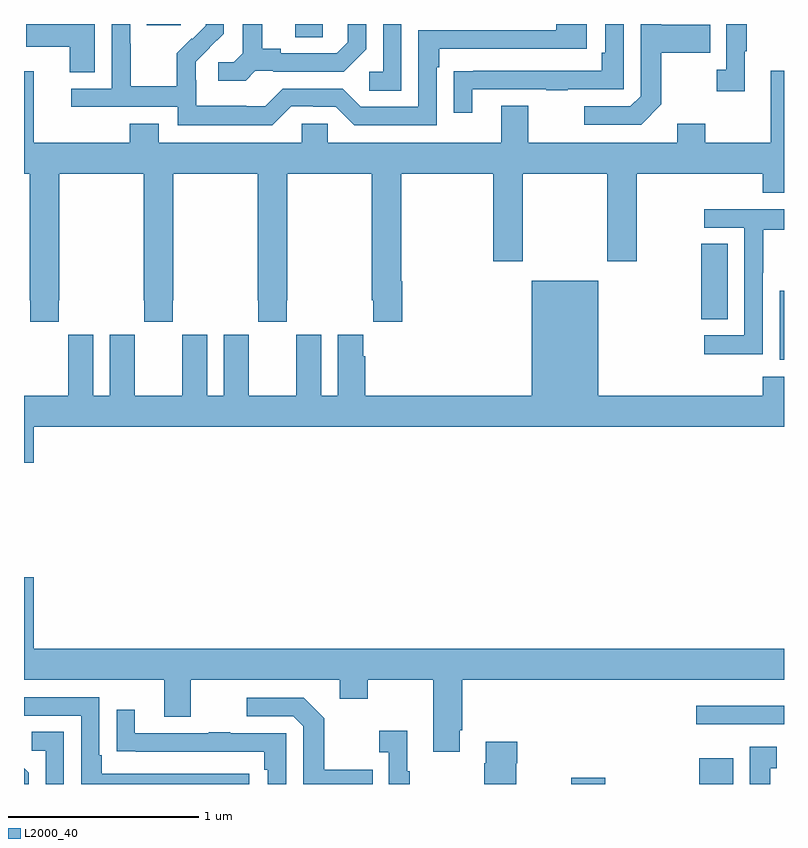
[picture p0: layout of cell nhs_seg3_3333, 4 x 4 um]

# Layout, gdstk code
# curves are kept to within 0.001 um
import gdstk
lib = gdstk.Library(unit=1e-6, precision=1e-09)
def R(c, l, rs):  # rectangles x0, y0, x1, y1
    for r in rs: c.add(gdstk.rectangle(r[:2], r[2:], *l))
def P(c, l, *ps):  # polygons
    for p in ps: c.add(gdstk.Polygon(p, *l))
L2000_40 = (2000, 40)

nhs_seg3_3333 = lib.new_cell('nhs_seg3_3333')
R(nhs_seg3_3333, L2000_40, [(287.881,668.4,288.059,668.434), (288.554,668.4,288.733,668.536), (288.537,668.715,289,668.812), (288.977,670.634,289,670.995), (288.565,670.846,288.703,671.243), (286.427,672.331,286.572,672.4), (285.647,672.393,285.826,672.4)])
P(nhs_seg3_3333, L2000_40, [(288.793,672.257),(288.805,672.257),(288.805,672.4),(288.696,672.4),(288.696,672.158),(288.645,672.158),(288.645,672.045),(288.793,672.045)],
  [(287.359,672.057),(287.749,672.057),(287.749,672.052),(287.861,672.052),(287.861,672.057),(288.156,672.057),(288.156,672.4),(288.06,672.4),(288.06,672.25),(288.04,672.25),(288.04,672.153),(287.365,672.153),(287.365,672.152),(287.263,672.152),(287.263,671.934),(287.359,671.934)],
  [(285.373,672.4),(285.012,672.4),(285.012,672.281),(285.242,672.281),(285.242,672.145),(285.373,672.145)],
  [(288.355,671.977),(288.355,672.25),(288.611,672.25),(288.611,672.397),(288.355,672.397),(288.355,672.4),(288.246,672.4),(288.246,672.021),(288.192,671.967),(287.949,671.967),(287.949,671.871),(288.249,671.871)],
  [(286.407,671.967),(286.523,671.967),(286.523,671.964),(286.641,671.964),(286.737,671.868),(287.172,671.868),(287.172,672.173),(287.185,672.173),(287.185,672.27),(287.962,672.27),(287.962,672.4),(287.801,672.4),(287.801,672.366),(287.076,672.366),(287.076,671.964),(286.773,671.964),(286.677,672.06),(286.362,672.06),(286.269,671.967),(286.169,671.967),(286.169,671.971),(285.906,671.971),(285.906,672.105),(285.904,672.105),(285.904,672.202),(286.05,672.35),(286.05,672.4),(285.956,672.4),(285.956,672.392),(285.885,672.321),(285.882,672.324),(285.805,672.247),(285.805,672.073),(285.561,672.073),(285.561,672.296),(285.558,672.296),(285.558,672.4),(285.462,672.4),(285.462,672.06),(285.249,672.06),(285.249,671.964),(285.81,671.964),(285.81,671.867),(286.307,671.867)],
  [(286.218,672.153),(286.312,672.153),(286.312,672.15),(286.684,672.15),(286.8,672.266),(286.8,672.4),(286.703,672.4),(286.703,672.303),(286.646,672.246),(286.351,672.246),(286.351,672.269),(286.255,672.269),(286.255,672.4),(286.151,672.4),(286.151,672.245),(286.104,672.198),(286.023,672.198),(286.023,672.101),(286.166,672.101)],
  [(286.986,672.4),(286.89,672.4),(286.89,672.15),(286.818,672.15),(286.818,672.049),(286.986,672.049)],
  [(285.709,671.875),(285.557,671.875),(285.557,671.776),(285.052,671.776),(285.052,672.151),(285,672.151),(285,671.612),(285.031,671.612),(285.031,670.945),(285.033,670.945),(285.033,670.833),(285.183,670.833),(285.183,670.945),(285.186,670.945),(285.186,671.612),(285.631,671.612),(285.631,670.945),(285.633,670.945),(285.633,670.833),(285.783,670.833),(285.783,670.945),(285.786,670.945),(285.786,671.612),(286.231,671.612),(286.231,670.945),(286.233,670.945),(286.233,670.833),(286.383,670.833),(286.383,670.945),(286.386,670.945),(286.386,671.612),(286.831,671.612),(286.831,670.945),(286.837,670.945),(286.837,670.833),(286.991,670.833),(286.991,671.045),(286.986,671.045),(286.986,671.612),(287.47,671.612),(287.47,671.151),(287.625,671.151),(287.625,671.612),(288.07,671.612),(288.07,671.151),(288.225,671.151),(288.225,671.612),(288.887,671.612),(288.887,671.513),(289,671.513),(289,672.154),(288.929,672.154),(288.929,671.776),(288.585,671.776),(288.585,671.875),(288.437,671.875),(288.437,671.776),(287.653,671.776),(287.653,671.971),(287.513,671.971),(287.513,671.776),(286.599,671.776),(286.599,671.874),(286.461,671.874),(286.461,671.776),(285.709,671.776)],
  [(288.888,671.092),(288.891,671.092),(288.891,671.316),(289,671.316),(289,671.424),(288.579,671.424),(288.579,671.328),(288.792,671.328),(288.792,670.761),(288.579,670.761),(288.579,670.663),(288.888,670.663)],
  [(285.052,670.28),(289,670.28),(289,670.543),(288.887,670.543),(288.887,670.444),(288.022,670.444),(288.022,671.05),(287.672,671.05),(287.672,670.444),(286.796,670.444),(286.796,670.652),(286.786,670.652),(286.786,670.765),(286.652,670.765),(286.652,670.444),(286.564,670.444),(286.564,670.765),(286.434,670.765),(286.434,670.652),(286.433,670.652),(286.433,670.444),(286.183,670.444),(286.183,670.652),(286.182,670.652),(286.182,670.765),(286.052,670.765),(286.052,670.444),(285.964,670.444),(285.964,670.765),(285.834,670.765),(285.834,670.652),(285.833,670.652),(285.833,670.444),(285.583,670.444),(285.583,670.652),(285.582,670.652),(285.582,670.765),(285.452,670.765),(285.452,670.444),(285.364,670.444),(285.364,670.765),(285.234,670.765),(285.234,670.652),(285.233,670.652),(285.233,670.444),(285,670.444),(285,670.092),(285.052,670.092)],
  [(287.293,668.683),(287.306,668.683),(287.306,668.948),(289,668.948),(289,669.112),(285.052,669.112),(285.052,669.487),(285,669.487),(285,668.948),(285.737,668.948),(285.737,668.754),(285.877,668.754),(285.877,668.948),(286.661,668.948),(286.661,668.849),(286.809,668.849),(286.809,668.948),(287.153,668.948),(287.153,668.571),(287.293,668.571)],
  [(286.186,668.454),(285.409,668.454),(285.409,668.551),(285.396,668.551),(285.396,668.856),(285,668.856),(285,668.76),(285.3,668.76),(285.3,668.4),(286.186,668.4)],
  [(286.835,668.475),(286.579,668.475),(286.579,668.747),(286.473,668.853),(286.173,668.853),(286.173,668.757),(286.416,668.757),(286.47,668.703),(286.47,668.4),(286.835,668.4)],
  [(286.38,668.667),(286.085,668.667),(286.085,668.672),(285.973,668.672),(285.973,668.667),(285.583,668.667),(285.583,668.791),(285.487,668.791),(285.487,668.572),(285.589,668.572),(285.589,668.571),(286.264,668.571),(286.264,668.474),(286.284,668.474),(286.284,668.4),(286.38,668.4)],
  [(287.029,668.467),(287.017,668.467),(287.017,668.68),(286.869,668.68),(286.869,668.567),(286.92,668.567),(286.92,668.4),(287.029,668.4)],
  [(285.21,668.675),(285.042,668.675),(285.042,668.574),(285.114,668.574),(285.114,668.4),(285.21,668.4)],
  [(287.592,668.51),(287.597,668.51),(287.597,668.623),(287.429,668.623),(287.429,668.51),(287.422,668.51),(287.422,668.4),(287.592,668.4)],
  [(288.928,668.483),(288.961,668.483),(288.961,668.596),(288.821,668.596),(288.821,668.4),(288.928,668.4)],
  [(285.024,668.458),(285,668.482),(285,668.4),(285.024,668.4)])

lib.write_gds('nhs_seg3_3333.gds')
